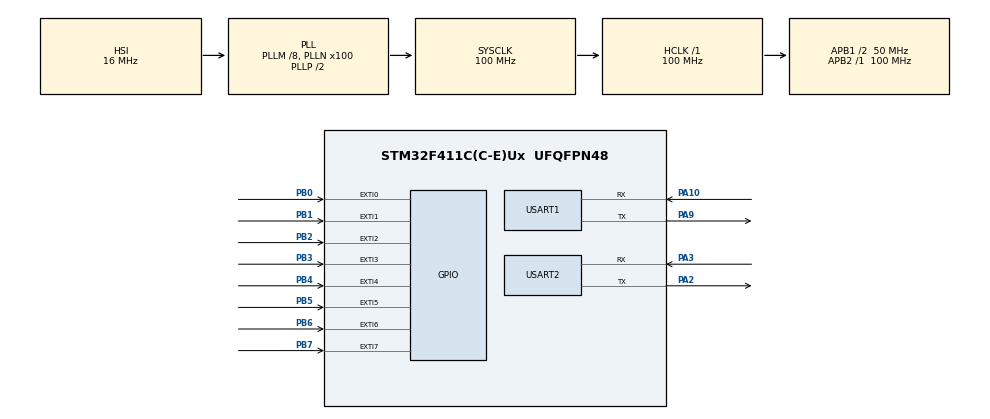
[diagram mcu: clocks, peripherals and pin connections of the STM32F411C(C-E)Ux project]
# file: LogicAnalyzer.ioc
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Dma.Request0=TIM1_UP
Dma.TIM1_UP.0.Direction=DMA_PERIPH_TO_MEMORY
Dma.TIM1_UP.0.FIFOMode=DMA_FIFOMODE_ENABLE
Dma.TIM1_UP.0.FIFOThreshold=DMA_FIFO_THRESHOLD_FULL
Dma.TIM1_UP.0.Instance=DMA2_Stream5
Dma.TIM1_UP.0.MemBurst=DMA_MBURST_SINGLE
Dma.TIM1_UP.0.MemDataAlignment=DMA_MDATAALIGN_BYTE
Dma.TIM1_UP.0.MemInc=DMA_MINC_ENABLE
Dma.TIM1_UP.0.Mode=DMA_NORMAL
Dma.TIM1_UP.0.PeriphBurst=DMA_PBURST_SINGLE
Dma.TIM1_UP.0.PeriphDataAlignment=DMA_PDATAALIGN_BYTE
Dma.TIM1_UP.0.PeriphInc=DMA_PINC_DISABLE
Dma.TIM1_UP.0.Priority=DMA_PRIORITY_LOW
Mcu.Family=STM32F4
Mcu.Name=STM32F411C(C-E)Ux
Mcu.Package=UFQFPN48
NVIC.DMA2_Stream5_IRQn=true\:0\:0\:false\:false\:true\:false\:true\:true
NVIC.EXTI0_IRQn=true\:0\:0\:false\:false\:true\:true\:true\:true
NVIC.EXTI1_IRQn=true\:0\:0\:false\:false\:true\:true\:true\:true
NVIC.EXTI2_IRQn=true\:0\:0\:false\:false\:true\:true\:true\:true
NVIC.EXTI3_IRQn=true\:0\:0\:false\:false\:true\:true\:true\:true
NVIC.EXTI4_IRQn=true\:0\:0\:false\:false\:true\:true\:true\:true
NVIC.EXTI9_5_IRQn=true\:0\:0\:false\:false\:true\:true\:true\:true
NVIC.PriorityGroup=NVIC_PRIORITYGROUP_4
NVIC.TIM1_BRK_TIM9_IRQn=true\:0\:0\:false\:false\:true\:true\:true\:true
PA10.Mode=Asynchronous
PA10.Signal=USART1_RX
PA13.Mode=Serial_Wire
PA13.Signal=SYS_JTMS-SWDIO
PA14.Mode=Serial_Wire
PA14.Signal=SYS_JTCK-SWCLK
PA2.Mode=Asynchronous
PA2.Signal=USART2_TX
PA3.Mode=Asynchronous
PA3.Signal=USART2_RX
PA9.Mode=Asynchronous
PA9.Signal=USART1_TX
PB0.GPIO_ModeDefaultEXTI=GPIO_MODE_IT_FALLING
PB0.GPIO_PuPd=GPIO_PULLUP
PB0.Signal=GPXTI0
PB1.GPIO_ModeDefaultEXTI=GPIO_MODE_IT_FALLING
PB1.GPIO_PuPd=GPIO_PULLUP
PB1.Signal=GPXTI1
PB2.GPIO_ModeDefaultEXTI=GPIO_MODE_IT_FALLING
PB2.GPIO_PuPd=GPIO_PULLUP
PB2.Signal=GPXTI2
PB3.GPIO_ModeDefaultEXTI=GPIO_MODE_IT_FALLING
PB3.GPIO_PuPd=GPIO_PULLUP
PB3.Signal=GPXTI3
PB4.GPIO_ModeDefaultEXTI=GPIO_MODE_IT_FALLING
PB4.GPIO_PuPd=GPIO_PULLUP
PB4.Signal=GPXTI4
PB5.GPIO_ModeDefaultEXTI=GPIO_MODE_IT_FALLING
PB5.GPIO_PuPd=GPIO_PULLUP
PB5.Signal=GPXTI5
PB6.GPIO_ModeDefaultEXTI=GPIO_MODE_IT_FALLING
PB6.GPIO_PuPd=GPIO_PULLUP
PB6.Signal=GPXTI6
PB7.GPIO_ModeDefaultEXTI=GPIO_MODE_IT_FALLING
PB7.GPIO_PuPd=GPIO_PULLUP
PB7.Signal=GPXTI7
PH0\ -\ OSC_IN.Mode=HSE-External-Oscillator
PH0\ -\ OSC_IN.Signal=RCC_OSC_IN
PH1\ -\ OSC_OUT.Mode=HSE-External-Oscillator
PH1\ -\ OSC_OUT.Signal=RCC_OSC_OUT
ProjectManager.HeapSize=0x200
ProjectManager.StackSize=0x400
ProjectManager.TargetToolchain=STM32CubeIDE
RCC.48MHZClocksFreq_Value=50000000
RCC.AHBFreq_Value=100000000
RCC.APB1CLKDivider=RCC_HCLK_DIV2
RCC.APB1Freq_Value=50000000
RCC.APB1TimFreq_Value=100000000
RCC.APB2Freq_Value=100000000
RCC.APB2TimFreq_Value=100000000
RCC.CortexFreq_Value=100000000
RCC.HCLKFreq_Value=100000000
RCC.HSE_VALUE=25000000
RCC.HSI_VALUE=16000000
RCC.LSE_VALUE=32768
RCC.PLLM=8
RCC.PLLN=100
RCC.SYSCLKFreq_VALUE=100000000
RCC.SYSCLKSource=RCC_SYSCLKSOURCE_PLLCLK
RCC.VCOOutputFreq_Value=200000000
TIM1.Period=99
TIM1.Prescaler=0
USART1.VirtualMode=VM_ASYNC
USART2.VirtualMode=VM_ASYNC
VP_TIM1_VS_ClockSourceINT.Mode=Internal
board=custom

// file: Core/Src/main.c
/* USER CODE BEGIN Header */
/**
 ******************************************************************************
 * @file           : main.c
 * @brief          : Main program body
 ******************************************************************************
 * @attention
 *
 * Copyright (c) 2026 STMicroelectronics.
 * All rights reserved.
 *
 * This software is licensed under terms that can be found in the LICENSE file
 * in the root directory of this software component.
 * If no LICENSE file comes with this software, it is provided AS-IS.
 *
 ******************************************************************************
 */
/* USER CODE END Header */
#include "main.h"

/* USER CODE BEGIN PTD */

// Mini LA State machine
typedef enum
{
  SAMPLING_IDLE = 0,
  SAMPLING_IN_PROGRESS,
  SAMPLING_DONE
} SamplingState;

/* USER CODE END PTD */

/* USER CODE BEGIN PD */
#define BUFFER_SIZE 16384 // Mảng RAM chứa 16 KB mẫu đo
/* USER CODE END PD */

TIM_HandleTypeDef htim1;
DMA_HandleTypeDef hdma_tim1_up;

UART_HandleTypeDef huart1;
UART_HandleTypeDef huart2;

/* USER CODE BEGIN PV */
uint8_t sample_buffer[BUFFER_SIZE];
volatile SamplingState sampling_state = SAMPLING_IDLE;

uint8_t test = 'A';

/* USER CODE END PV */

void SystemClock_Config(void);
static void MX_GPIO_Init(void);
static void MX_DMA_Init(void);
static void MX_TIM1_Init(void);
static void MX_USART1_UART_Init(void);
static void MX_USART2_UART_Init(void);
/* USER CODE BEGIN PFP */

void LA_TransferComplete_CallBack(DMA_HandleTypeDef *hdma);
/* USER CODE END PFP */

int main(void)
{

  /* MCU Configuration--------------------------------------------------------*/

  /* Reset of all peripherals, Initializes the Flash interface and the Systick. */
  HAL_Init();

  /* Configure the system clock */
  SystemClock_Config();

  /* Initialize all configured peripherals */
  MX_GPIO_Init();
  MX_DMA_Init();
  MX_TIM1_Init();
  MX_USART1_UART_Init();
  MX_USART2_UART_Init();
  /* USER CODE BEGIN 2 */
  // 4. Đăng kí hàm callback
  hdma_tim1_up.XferCpltCallback = LA_TransferComplete_CallBack;
  // // 1. Cho DMA2_Stream5 đọc từ thanh ghi GPIOA->IDR vào mảng dma_buffer
  // HAL_DMA_Start_IT(&hdma_tim1_up, (uint32_t)&(GPIOB->IDR), (uint32_t)sample_buffer, BUFFER_SIZE);
  // // 2. Cho phép TIM1 gửi tín hiệu trigger sang DMA mỗi khi tràn chu kỳ (mỗi 1 us)
  // __HAL_TIM_ENABLE_DMA(&htim1, TIM_DMA_UPDATE);
  // // 3. Khởi động TIM1
  // __HAL_TIM_ENABLE(&htim1);

  // sampling_state = SAMPLING_IDLE;

  // HAL_UART_Transmit(&huart2, &test, 1, 100);
   HAL_Delay(2000);

  /* USER CODE END 2 */

  /* Infinite loop */
  while (1)
  {

    /* USER CODE BEGIN 3 */
    if (sampling_state == SAMPLING_DONE)
    {
      sampling_state = SAMPLING_IDLE;
      HAL_UART_Transmit(&huart1, sample_buffer, BUFFER_SIZE, 5000);
    }
    //	  HAL_UART_Transmit(&huart1, &test, 1, 100);
    //
    //	  HAL_Delay(1000);
  }
  /* USER CODE END 3 */
}

void SystemClock_Config(void)
{
  RCC_OscInitTypeDef RCC_OscInitStruct = {0};
  RCC_ClkInitTypeDef RCC_ClkInitStruct = {0};

  /** Configure the main internal regulator output voltage
   */
  __HAL_RCC_PWR_CLK_ENABLE();
  __HAL_PWR_VOLTAGESCALING_CONFIG(PWR_REGULATOR_VOLTAGE_SCALE1);

  /** Initializes the RCC Oscillators according to the specified parameters
   * in the RCC_OscInitTypeDef structure.
   */
  RCC_OscInitStruct.OscillatorType = RCC_OSCILLATORTYPE_HSI;
  RCC_OscInitStruct.HSIState = RCC_HSI_ON;
  RCC_OscInitStruct.HSICalibrationValue = RCC_HSICALIBRATION_DEFAULT;
  RCC_OscInitStruct.PLL.PLLState = RCC_PLL_ON;
  RCC_OscInitStruct.PLL.PLLSource = RCC_PLLSOURCE_HSI;
  RCC_OscInitStruct.PLL.PLLM = 8;
  RCC_OscInitStruct.PLL.PLLN = 100;
  RCC_OscInitStruct.PLL.PLLP = RCC_PLLP_DIV2;
  RCC_OscInitStruct.PLL.PLLQ = 4;
  if (HAL_RCC_OscConfig(&RCC_OscInitStruct) != HAL_OK)
  {
    Error_Handler();
  }

  /** Initializes the CPU, AHB and APB buses clocks
   */
  RCC_ClkInitStruct.ClockType = RCC_CLOCKTYPE_HCLK | RCC_CLOCKTYPE_SYSCLK | RCC_CLOCKTYPE_PCLK1 | RCC_CLOCKTYPE_PCLK2;
  RCC_ClkInitStruct.SYSCLKSource = RCC_SYSCLKSOURCE_PLLCLK;
  RCC_ClkInitStruct.AHBCLKDivider = RCC_SYSCLK_DIV1;
  RCC_ClkInitStruct.APB1CLKDivider = RCC_HCLK_DIV2;
  RCC_ClkInitStruct.APB2CLKDivider = RCC_HCLK_DIV1;

  if (HAL_RCC_ClockConfig(&RCC_ClkInitStruct, FLASH_LATENCY_3) != HAL_OK)
  {
    Error_Handler();
  }
}

static void MX_TIM1_Init(void)
{

  TIM_ClockConfigTypeDef sClockSourceConfig = {0};
  TIM_MasterConfigTypeDef sMasterConfig = {0};

  htim1.Instance = TIM1;
  htim1.Init.Prescaler = 0;
  htim1.Init.CounterMode = TIM_COUNTERMODE_UP;
  htim1.Init.Period = 99;
  htim1.Init.ClockDivision = TIM_CLOCKDIVISION_DIV1;
  htim1.Init.RepetitionCounter = 0;
  htim1.Init.AutoReloadPreload = TIM_AUTORELOAD_PRELOAD_DISABLE;
  if (HAL_TIM_Base_Init(&htim1) != HAL_OK)
  {
    Error_Handler();
  }
  sClockSourceConfig.ClockSource = TIM_CLOCKSOURCE_INTERNAL;
  if (HAL_TIM_ConfigClockSource(&htim1, &sClockSourceConfig) != HAL_OK)
  {
    Error_Handler();
  }
  sMasterConfig.MasterOutputTrigger = TIM_TRGO_RESET;
  sMasterConfig.MasterSlaveMode = TIM_MASTERSLAVEMODE_DISABLE;
  if (HAL_TIMEx_MasterConfigSynchronization(&htim1, &sMasterConfig) != HAL_OK)
  {
    Error_Handler();
  }
}

static void MX_USART1_UART_Init(void)
{

  huart1.Instance = USART1;
  huart1.Init.BaudRate = 115200;
  huart1.Init.WordLength = UART_WORDLENGTH_8B;
  huart1.Init.StopBits = UART_STOPBITS_1;
  huart1.Init.Parity = UART_PARITY_NONE;
  huart1.Init.Mode = UART_MODE_TX_RX;
  huart1.Init.HwFlowCtl = UART_HWCONTROL_NONE;
  huart1.Init.OverSampling = UART_OVERSAMPLING_16;
  if (HAL_UART_Init(&huart1) != HAL_OK)
  {
    Error_Handler();
  }
}

static void MX_USART2_UART_Init(void)
{

  huart2.Instance = USART2;
  huart2.Init.BaudRate = 115200;
  huart2.Init.WordLength = UART_WORDLENGTH_8B;
  huart2.Init.StopBits = UART_STOPBITS_1;
  huart2.Init.Parity = UART_PARITY_NONE;
  huart2.Init.Mode = UART_MODE_TX_RX;
  huart2.Init.HwFlowCtl = UART_HWCONTROL_NONE;
  huart2.Init.OverSampling = UART_OVERSAMPLING_16;
  if (HAL_UART_Init(&huart2) != HAL_OK)
  {
    Error_Handler();
  }
}

static void MX_DMA_Init(void)
{

  /* DMA controller clock enable */
  __HAL_RCC_DMA2_CLK_ENABLE();

  /* DMA interrupt init */
  /* DMA2_Stream5_IRQn interrupt configuration */
  HAL_NVIC_SetPriority(DMA2_Stream5_IRQn, 0, 0);
  HAL_NVIC_EnableIRQ(DMA2_Stream5_IRQn);
}

static void MX_GPIO_Init(void)
{
  GPIO_InitTypeDef GPIO_InitStruct = {0};

  /* GPIO Ports Clock Enable */
  __HAL_RCC_GPIOH_CLK_ENABLE();
  __HAL_RCC_GPIOA_CLK_ENABLE();
  __HAL_RCC_GPIOB_CLK_ENABLE();

  /*Configure GPIO pins : PB0 PB1 PB2 PB3
                           PB4 PB5 PB6 PB7 */
  GPIO_InitStruct.Pin = GPIO_PIN_0 | GPIO_PIN_1 | GPIO_PIN_2 | GPIO_PIN_3 | GPIO_PIN_4 | GPIO_PIN_5 | GPIO_PIN_6 | GPIO_PIN_7;
  GPIO_InitStruct.Mode = GPIO_MODE_IT_FALLING;
  GPIO_InitStruct.Pull = GPIO_PULLUP;
  HAL_GPIO_Init(GPIOB, &GPIO_InitStruct);

  /* EXTI interrupt init*/
  HAL_NVIC_SetPriority(EXTI0_IRQn, 0, 0);
  HAL_NVIC_EnableIRQ(EXTI0_IRQn);

  HAL_NVIC_SetPriority(EXTI1_IRQn, 0, 0);
  HAL_NVIC_EnableIRQ(EXTI1_IRQn);

  HAL_NVIC_SetPriority(EXTI2_IRQn, 0, 0);
  HAL_NVIC_EnableIRQ(EXTI2_IRQn);

  HAL_NVIC_SetPriority(EXTI3_IRQn, 0, 0);
  HAL_NVIC_EnableIRQ(EXTI3_IRQn);

  HAL_NVIC_SetPriority(EXTI4_IRQn, 0, 0);
  HAL_NVIC_EnableIRQ(EXTI4_IRQn);

  HAL_NVIC_SetPriority(EXTI9_5_IRQn, 0, 0);
  HAL_NVIC_EnableIRQ(EXTI9_5_IRQn);

}

/* USER CODE BEGIN 4 */
void LA_TransferComplete_CallBack(DMA_HandleTypeDef *hdma)
{
  // Dừng Timer và ngắt DMA ngay khi đầy bộ đệm để tránh ghi đè
  HAL_TIM_Base_Stop(&htim1);

  __HAL_TIM_DISABLE_DMA(&htim1, TIM_DMA_UPDATE);

  sampling_state = SAMPLING_DONE; // Bật cờ báo hiệu đã đo xong
}

void HAL_GPIO_EXTI_Callback(uint16_t GPIO_Pin)
{
  if ((GPIO_Pin & 0x00FF) != 0) // Giả sử dùng chân PA0 làm kênh trigger
  {
    // 1. Tắt luôn ngắt EXTI của chân này (đúng với ý tưởng "phát hiện một lần rồi tắt trigger" của bạn)
    EXTI->IMR &= ~0X00FF; // Interrupt mask register
    // 2. Kích hoạt Timer 1 và DMA để đổ thẳng IDR vào buffer RAM
    HAL_DMA_Start_IT(&hdma_tim1_up, (uint32_t)&(GPIOB->IDR), (uint32_t)sample_buffer, BUFFER_SIZE);
    // 2. Cho phép TIM1 gửi tín hiệu trigger sang DMA mỗi khi tràn chu kỳ (mỗi 1 us)
    __HAL_TIM_ENABLE_DMA(&htim1, TIM_DMA_UPDATE);
    // 3. Khởi động TIM1
    __HAL_TIM_ENABLE(&htim1);
  }
}
/* USER CODE END 4 */

void Error_Handler(void)
{
  __disable_irq();
  while (1)
  {
  }
}
